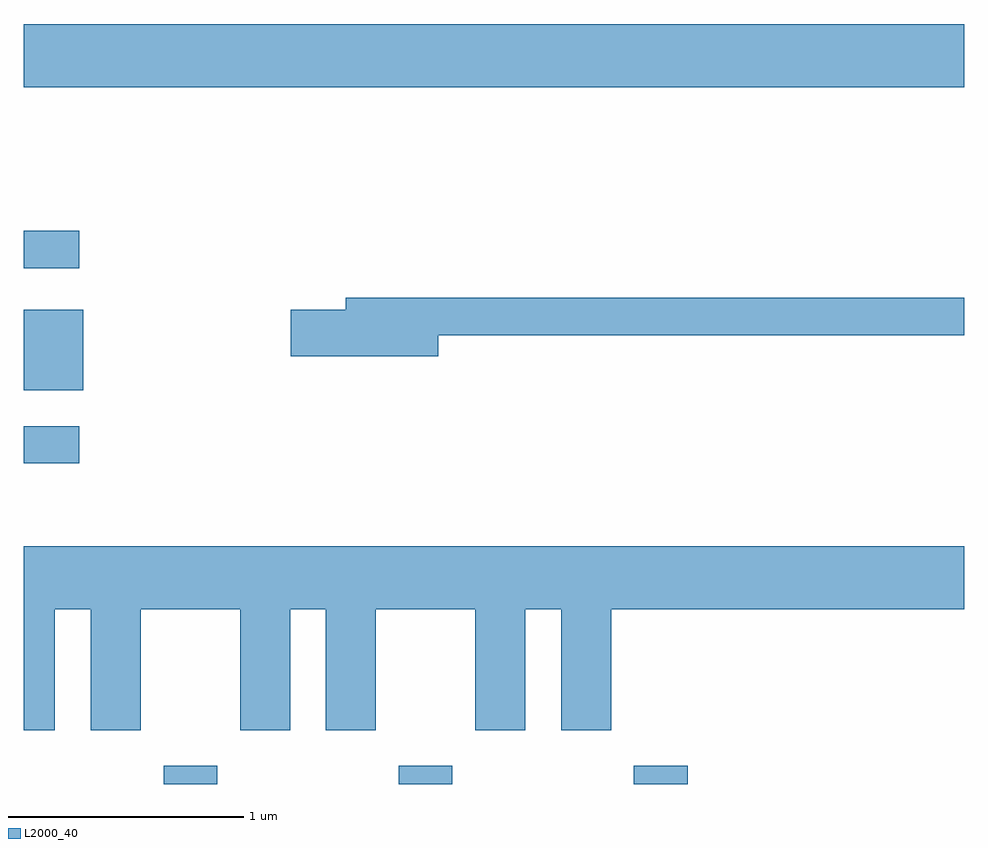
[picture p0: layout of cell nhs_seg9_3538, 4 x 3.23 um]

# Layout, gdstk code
import gdstk
lib = gdstk.Library(unit=1e-6, precision=1e-09)
def R(c, l, rs):  # rectangles x0, y0, x1, y1
    for r in rs: c.add(gdstk.rectangle(r[:2], r[2:], *l))
def A(c, l, x, y, w, h, nx, ny, dx, dy):  # array of equal rectangles
    R(c, l, [(x+i*dx, y+j*dy, x+i*dx+w, y+j*dy+h) for i in range(nx) for j in range(ny)])
def P(c, l, *ps):  # polygons
    for p in ps: c.add(gdstk.Polygon(p, *l))
L2000_40 = (2000, 40)

nhs_seg9_3538 = lib.new_cell('nhs_seg9_3538')
A(nhs_seg9_3538, L2000_40, 290.206, 1964.432, 0.228, 0.077, 3, 1, 1, 0)
R(nhs_seg9_3538, L2000_40, [(289.611,1965.796,289.848,1965.954), (289.611,1966.106,289.864,1966.449), (289.611,1966.626,289.848,1966.784), (289.611,1967.396,293.611,1967.664)])
P(nhs_seg9_3538, L2000_40, [(291.374,1966.341),(293.611,1966.341),(293.611,1966.499),(290.981,1966.499),(290.981,1966.449),(290.746,1966.449),(290.746,1966.251),(291.374,1966.251)],
  [(289.611,1964.661),(289.744,1964.661),(289.744,1965.176),(289.896,1965.176),(289.896,1964.661),(290.109,1964.661),(290.109,1965.176),(290.531,1965.176),(290.531,1964.661),(290.744,1964.661),(290.744,1965.176),(290.896,1965.176),(290.896,1964.661),(291.109,1964.661),(291.109,1965.176),(291.531,1965.176),(291.531,1964.661),(291.744,1964.661),(291.744,1965.176),(291.896,1965.176),(291.896,1964.661),(292.109,1964.661),(292.109,1965.176),(293.611,1965.176),(293.611,1965.444),(289.611,1965.444)])

lib.write_gds('nhs_seg9_3538.gds')
